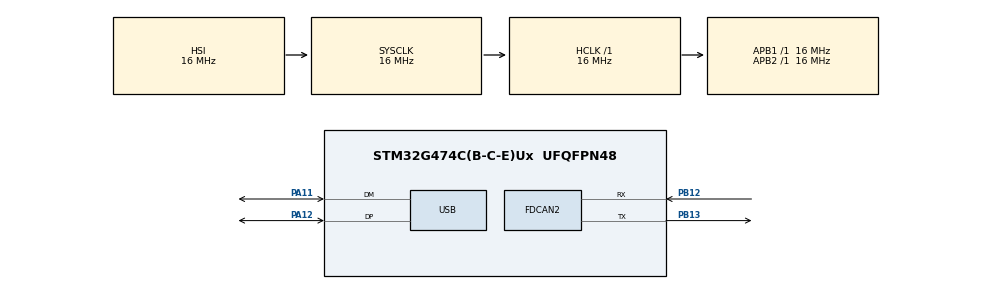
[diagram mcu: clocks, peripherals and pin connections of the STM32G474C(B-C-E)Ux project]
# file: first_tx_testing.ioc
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FDCAN2.AutoRetransmission=ENABLE
FDCAN2.CalculateBaudRateNominal=500000
FDCAN2.CalculateTimeBitNominal=2000
FDCAN2.CalculateTimeQuantumNominal=125.0
FDCAN2.NominalPrescaler=2
FDCAN2.NominalTimeSeg1=13
FDCAN2.NominalTimeSeg2=2
Mcu.Family=STM32G4
Mcu.Name=STM32G474C(B-C-E)Ux
Mcu.Package=UFQFPN48
NVIC.PriorityGroup=NVIC_PRIORITYGROUP_4
NVIC.USB_LP_IRQn=true\:0\:0\:false\:false\:true\:false\:true\:true
PA11.Mode=Device
PA11.Signal=USB_DM
PA12.Mode=Device
PA12.Signal=USB_DP
PB12.Mode=FDCAN_Activate
PB12.Signal=FDCAN2_RX
PB13.Mode=FDCAN_Activate
PB13.Signal=FDCAN2_TX
ProjectManager.HeapSize=0x200
ProjectManager.StackSize=0x400
ProjectManager.TargetToolchain=STM32CubeIDE
RCC.AHBFreq_Value=16000000
RCC.APB1Freq_Value=16000000
RCC.APB1TimFreq_Value=16000000
RCC.APB2Freq_Value=16000000
RCC.APB2TimFreq_Value=16000000
RCC.CortexFreq_Value=16000000
RCC.EXTERNAL_CLOCK_VALUE=12288000
RCC.HCLKFreq_Value=16000000
RCC.HSE_VALUE=8000000
RCC.HSI48_VALUE=48000000
RCC.HSI_VALUE=16000000
RCC.LSE_VALUE=32768
RCC.PLLN=12
RCC.PLLQ=RCC_PLLQ_DIV4
RCC.SYSCLKFreq_VALUE=16000000
RCC.USBFreq_Value=48000000
RCC.VCOOutputFreq_Value=192000000
USB_DEVICE.CLASS_NAME_FS=CDC
USB_DEVICE.VirtualMode=Cdc
USB_DEVICE.VirtualModeFS=Cdc_FS
VP_SYS_VS_DBSignals.Mode=DisableDeadBatterySignals
VP_USB_DEVICE_VS_USB_DEVICE_CDC_FS.Mode=CDC_FS
board=custom

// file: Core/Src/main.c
/* USER CODE BEGIN Header */
/**
  ******************************************************************************
  * @file           : main.c
  * @brief          : Main program body
  ******************************************************************************
  * @attention
  *
  * Copyright (c) 2026 STMicroelectronics.
  * All rights reserved.
  *
  * This software is licensed under terms that can be found in the LICENSE file
  * in the root directory of this software component.
  * If no LICENSE file comes with this software, it is provided AS-IS.
  *
  ******************************************************************************
  */
/* USER CODE END Header */
#include "main.h"
#include "usb_device.h"

/* USER CODE BEGIN Includes */
#include "usbd_cdc_if.h"
#include <stdio.h>
#include <string.h>
/* USER CODE END Includes */

FDCAN_HandleTypeDef hfdcan2;

/* USER CODE BEGIN PV */
FDCAN_TxHeaderTypeDef TxHeader;
uint8_t TxData[8] = {0};
uint8_t counter = 0;
/* USER CODE END PV */

void SystemClock_Config(void);
static void MX_GPIO_Init(void);
static void MX_FDCAN2_Init(void);

int main(void)
{

  /* MCU Configuration--------------------------------------------------------*/

  /* Reset of all peripherals, Initializes the Flash interface and the Systick. */
  HAL_Init();

  /* Configure the system clock */
  SystemClock_Config();

  /* Initialize all configured peripherals */
  MX_GPIO_Init();
  MX_USB_Device_Init();
  MX_FDCAN2_Init();
  /* USER CODE BEGIN 2 */
  HAL_Delay(3000);  /* let USB CDC enumerate */

  char initmsg[80];
  int initlen;

  TxHeader.Identifier          = 0x100;
  TxHeader.IdType              = FDCAN_STANDARD_ID;
  TxHeader.TxFrameType         = FDCAN_DATA_FRAME;
  TxHeader.DataLength          = FDCAN_DLC_BYTES_8;
  TxHeader.ErrorStateIndicator = FDCAN_ESI_ACTIVE;
  TxHeader.BitRateSwitch       = FDCAN_BRS_OFF;
  TxHeader.FDFormat            = FDCAN_CLASSIC_CAN;
  TxHeader.TxEventFifoControl  = FDCAN_NO_TX_EVENTS;
  TxHeader.MessageMarker       = 0;

  if (HAL_FDCAN_Start(&hfdcan2) != HAL_OK) {
    initlen = snprintf(initmsg, sizeof(initmsg), "FAIL: FDCAN Start\r\n");
    CDC_Transmit_FS((uint8_t *)initmsg, initlen);
    HAL_Delay(100);
  } else {
    initlen = snprintf(initmsg, sizeof(initmsg), "FDCAN2 started — transmitting...\r\n");
    CDC_Transmit_FS((uint8_t *)initmsg, initlen);
    HAL_Delay(100);
  }
  /* USER CODE END 2 */

  /* Infinite loop */
  while (1)
  {

    /* USER CODE BEGIN 3 */
	  /* Fill dummy data — byte 0 counts up so you can see it changing */
	  	    TxData[0] = counter;
	  	    TxData[1] = 0xAA;
	  	    TxData[2] = 0xBB;
	  	    TxData[3] = 0xCC;
	  	    TxData[4] = 0xDD;
	  	    TxData[5] = 0xEE;
	  	    TxData[6] = 0xFF;
	  	    TxData[7] = counter;

	  	    /* Attempt to send */
	  	    char msg[80];
	  	    int len;

	  	    HAL_StatusTypeDef whatsTheError = HAL_FDCAN_AddMessageToTxFifoQ(&hfdcan2, &TxHeader, TxData);
	  	    len = snprintf(msg, sizeof(msg), "%d\r\n", whatsTheError);
	  	    CDC_Transmit_FS((uint8_t *)msg, len);

	  	    if (whatsTheError == HAL_OK) {
	  	      len = snprintf(msg, sizeof(msg), "TX OK  | counter=%d\r\n", counter);
	  	    } else {
	  	    	len = snprintf(msg, sizeof(msg), "TX FAIL| counter=%d\r\n", counter);
	  	    }

	  	    CDC_Transmit_FS((uint8_t *)msg, len);

	  	    counter++;
	  	    HAL_Delay(500);  /* Send every 500 ms */

  }
  /* USER CODE END 3 */
}

void SystemClock_Config(void)
{
  RCC_OscInitTypeDef RCC_OscInitStruct = {0};
  RCC_ClkInitTypeDef RCC_ClkInitStruct = {0};

  /** Configure the main internal regulator output voltage
  */
  HAL_PWREx_ControlVoltageScaling(PWR_REGULATOR_VOLTAGE_SCALE1);

  /** Initializes the RCC Oscillators according to the specified parameters
  * in the RCC_OscInitTypeDef structure.
  */
  RCC_OscInitStruct.OscillatorType = RCC_OSCILLATORTYPE_HSI;
  RCC_OscInitStruct.HSIState = RCC_HSI_ON;
  RCC_OscInitStruct.HSICalibrationValue = RCC_HSICALIBRATION_DEFAULT;
  RCC_OscInitStruct.PLL.PLLState = RCC_PLL_ON;
  RCC_OscInitStruct.PLL.PLLSource = RCC_PLLSOURCE_HSI;
  RCC_OscInitStruct.PLL.PLLM = RCC_PLLM_DIV1;
  RCC_OscInitStruct.PLL.PLLN = 12;
  RCC_OscInitStruct.PLL.PLLP = RCC_PLLP_DIV2;
  RCC_OscInitStruct.PLL.PLLQ = RCC_PLLQ_DIV4;
  RCC_OscInitStruct.PLL.PLLR = RCC_PLLR_DIV2;
  if (HAL_RCC_OscConfig(&RCC_OscInitStruct) != HAL_OK)
  {
    Error_Handler();
  }

  /** Initializes the CPU, AHB and APB buses clocks
  */
  RCC_ClkInitStruct.ClockType = RCC_CLOCKTYPE_HCLK|RCC_CLOCKTYPE_SYSCLK
                              |RCC_CLOCKTYPE_PCLK1|RCC_CLOCKTYPE_PCLK2;
  RCC_ClkInitStruct.SYSCLKSource = RCC_SYSCLKSOURCE_HSI;
  RCC_ClkInitStruct.AHBCLKDivider = RCC_SYSCLK_DIV1;
  RCC_ClkInitStruct.APB1CLKDivider = RCC_HCLK_DIV1;
  RCC_ClkInitStruct.APB2CLKDivider = RCC_HCLK_DIV1;

  if (HAL_RCC_ClockConfig(&RCC_ClkInitStruct, FLASH_LATENCY_0) != HAL_OK)
  {
    Error_Handler();
  }
}

static void MX_FDCAN2_Init(void)
{

  hfdcan2.Instance = FDCAN2;
  hfdcan2.Init.ClockDivider = FDCAN_CLOCK_DIV1;
  hfdcan2.Init.FrameFormat = FDCAN_FRAME_CLASSIC;
  hfdcan2.Init.Mode = FDCAN_MODE_NORMAL;
  hfdcan2.Init.AutoRetransmission = ENABLE;
  hfdcan2.Init.TransmitPause = DISABLE;
  hfdcan2.Init.ProtocolException = DISABLE;
  hfdcan2.Init.NominalPrescaler = 2;
  hfdcan2.Init.NominalSyncJumpWidth = 1;
  hfdcan2.Init.NominalTimeSeg1 = 13;
  hfdcan2.Init.NominalTimeSeg2 = 2;
  hfdcan2.Init.DataPrescaler = 1;
  hfdcan2.Init.DataSyncJumpWidth = 1;
  hfdcan2.Init.DataTimeSeg1 = 1;
  hfdcan2.Init.DataTimeSeg2 = 1;
  hfdcan2.Init.StdFiltersNbr = 0;
  hfdcan2.Init.ExtFiltersNbr = 0;
  hfdcan2.Init.TxFifoQueueMode = FDCAN_TX_FIFO_OPERATION;
  if (HAL_FDCAN_Init(&hfdcan2) != HAL_OK)
  {
    Error_Handler();
  }

}

static void MX_GPIO_Init(void)
{

  /* GPIO Ports Clock Enable */
  __HAL_RCC_GPIOB_CLK_ENABLE();
  __HAL_RCC_GPIOA_CLK_ENABLE();

}

void Error_Handler(void)
{
  __disable_irq();
  while (1)
  {
  }
}
